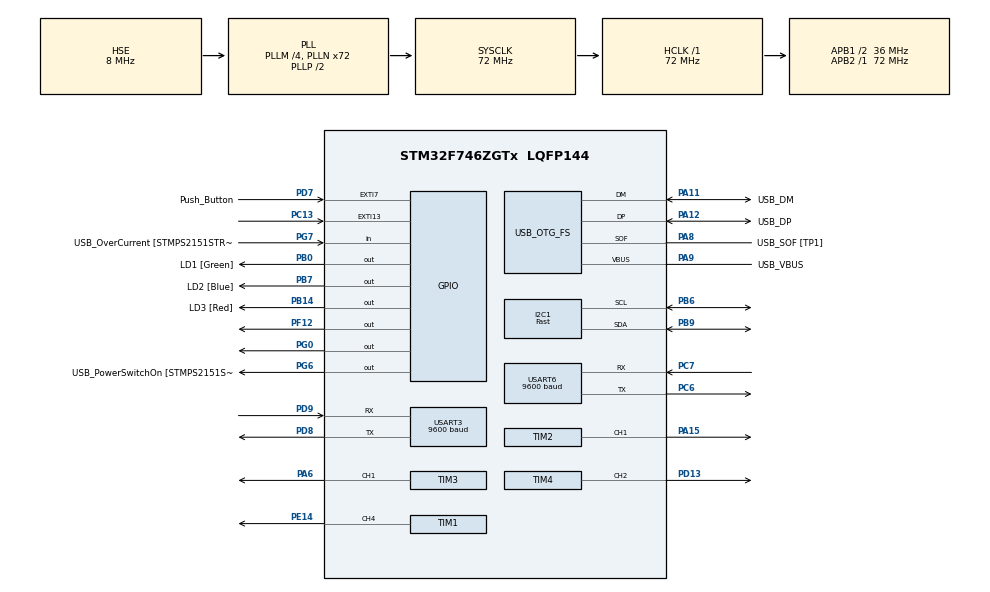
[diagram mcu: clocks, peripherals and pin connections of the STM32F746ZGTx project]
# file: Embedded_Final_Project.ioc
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Dma.Request0=USART3_RX
Dma.USART3_RX.0.Direction=DMA_PERIPH_TO_MEMORY
Dma.USART3_RX.0.FIFOMode=DMA_FIFOMODE_DISABLE
Dma.USART3_RX.0.Instance=DMA1_Stream1
Dma.USART3_RX.0.MemDataAlignment=DMA_MDATAALIGN_BYTE
Dma.USART3_RX.0.MemInc=DMA_MINC_ENABLE
Dma.USART3_RX.0.Mode=DMA_CIRCULAR
Dma.USART3_RX.0.PeriphDataAlignment=DMA_PDATAALIGN_BYTE
Dma.USART3_RX.0.PeriphInc=DMA_PINC_DISABLE
Dma.USART3_RX.0.Priority=DMA_PRIORITY_VERY_HIGH
I2C1.I2C_Speed_Mode=I2C_Fast
I2C1.Speed=100
I2C1.Timing=0x00305FFF
Mcu.Family=STM32F7
Mcu.Name=STM32F746ZGTx
Mcu.Package=LQFP144
NVIC.DMA1_Stream1_IRQn=true\:0\:0\:false\:false\:true\:false\:true\:true
NVIC.EXTI15_10_IRQn=true\:0\:0\:false\:false\:true\:true\:true\:true
NVIC.EXTI9_5_IRQn=true\:0\:0\:false\:false\:true\:true\:true\:true
NVIC.I2C1_ER_IRQn=true\:0\:0\:false\:false\:true\:true\:true\:true
NVIC.I2C1_EV_IRQn=true\:0\:0\:false\:false\:true\:true\:true\:true
NVIC.PriorityGroup=NVIC_PRIORITYGROUP_4
NVIC.TIM1_UP_TIM10_IRQn=true\:0\:0\:false\:false\:true\:true\:true\:true
PA1.GPIO_Label=RMII_REF_CLK [LAN8742A-CZ-TR_REFCLK0]
PA1.Signal=ETH_REF_CLK
PA10.GPIO_Label=USB_ID
PA10.Signal=USB_OTG_FS_ID
PA11.GPIO_Label=USB_DM
PA11.Mode=Device_Only
PA11.Signal=USB_OTG_FS_DM
PA12.GPIO_Label=USB_DP
PA12.Mode=Device_Only
PA12.Signal=USB_OTG_FS_DP
PA13.GPIO_Label=TMS
PA13.Mode=Serial_Wire
PA13.Signal=SYS_JTMS-SWDIO
PA14.GPIO_Label=TCK
PA14.Mode=Serial_Wire
PA14.Signal=SYS_JTCK-SWCLK
PA15.Signal=S_TIM2_CH1_ETR
PA2.GPIO_Label=RMII_MDIO [LAN8742A-CZ-TR_MDIO]
PA2.Signal=ETH_MDIO
PA6.Signal=S_TIM3_CH1
PA7.GPIO_Label=RMII_CRS_DV [LAN8742A-CZ-TR_CRS_DV]
PA7.Signal=ETH_CRS_DV
PA8.GPIO_Label=USB_SOF [TP1]
PA8.Mode=Activate_SOF_FS
PA8.Signal=USB_OTG_FS_SOF
PA9.GPIO_Label=USB_VBUS
PA9.Mode=Activate_VBUS
PA9.Signal=USB_OTG_FS_VBUS
PB0.GPIO_Label=LD1 [Green]
PB0.Signal=GPIO_Output
PB13.GPIO_Label=RMII_TXD1 [LAN8742A-CZ-TR_TXD1]
PB13.Signal=ETH_TXD1
PB14.GPIO_Label=LD3 [Red]
PB14.Signal=GPIO_Output
PB3.GPIO_Label=SW0
PB3.Signal=SYS_JTDO-SWO
PB6.Mode=I2C
PB6.Signal=I2C1_SCL
PB7.GPIO_Label=LD2 [Blue]
PB7.Signal=GPIO_Output
PB9.Mode=I2C
PB9.Signal=I2C1_SDA
PC1.GPIO_Label=RMII_MDC [LAN8742A-CZ-TR_MDC]
PC1.Signal=ETH_MDC
PC13.Signal=GPXTI13
PC14/OSC32_IN.Signal=RCC_OSC32_IN
PC15/OSC32_OUT.Signal=RCC_OSC32_OUT
PC4.GPIO_Label=RMII_RXD0 [LAN8742A-CZ-TR_RXD0]
PC4.Signal=ETH_RXD0
PC5.GPIO_Label=RMII_RXD1 [LAN8742A-CZ-TR_RXD1]
PC5.Signal=ETH_RXD1
PC6.Mode=Asynchronous
PC6.Signal=USART6_TX
PC7.Mode=Asynchronous
PC7.Signal=USART6_RX
PD13.Signal=S_TIM4_CH2
PD7.GPIO_Label=Push_Button
PD7.GPIO_ModeDefaultEXTI=GPIO_MODE_IT_FALLING
PD7.GPIO_PuPd=GPIO_PULLDOWN
PD7.Signal=GPXTI7
PD8.GPIO_ModeDefaultPP=GPIO_MODE_AF_PP
PD8.GPIO_PuPd=GPIO_NOPULL
PD8.GPIO_Speed=GPIO_SPEED_FREQ_VERY_HIGH
PD8.Mode=Asynchronous
PD8.Signal=USART3_TX
PD9.GPIO_ModeDefaultPP=GPIO_MODE_AF_PP
PD9.GPIO_PuPd=GPIO_NOPULL
PD9.GPIO_Speed=GPIO_SPEED_FREQ_VERY_HIGH
PD9.Mode=Asynchronous
PD9.Signal=USART3_RX
PE14.Signal=S_TIM1_CH4
PF12.PinState=GPIO_PIN_SET
PF12.Signal=GPIO_Output
PG0.Signal=GPIO_Output
PG11.GPIO_Label=RMII_TX_EN [LAN8742A-CZ-TR_TXEN]
PG11.Signal=ETH_TX_EN
PG13.GPIO_Label=RMII_TXD0 [LAN8742A-CZ-TR_TXD0]
PG13.Signal=ETH_TXD0
PG6.GPIO_Label=USB_PowerSwitchOn [STMPS2151STR_EN]
PG6.Signal=GPIO_Output
PG7.GPIO_Label=USB_OverCurrent [STMPS2151STR_FAULT]
PG7.Signal=GPIO_Input
PH0/OSC_IN.GPIO_Label=MCO [STM32F103CBT6_PA8]
PH0/OSC_IN.Mode=HSE-External-Oscillator
PH0/OSC_IN.Signal=RCC_OSC_IN
PH1/OSC_OUT.Mode=HSE-External-Oscillator
PH1/OSC_OUT.Signal=RCC_OSC_OUT
ProjectManager.HeapSize=0x200
ProjectManager.StackSize=0x400
ProjectManager.TargetToolchain=STM32CubeIDE
RCC.48MHZClocksFreq_Value=24000000
RCC.AHBFreq_Value=72000000
RCC.APB1CLKDivider=RCC_HCLK_DIV2
RCC.APB1Freq_Value=36000000
RCC.APB1TimFreq_Value=72000000
RCC.APB2Freq_Value=72000000
RCC.APB2TimFreq_Value=72000000
RCC.CortexFreq_Value=72000000
RCC.HCLKFreq_Value=72000000
RCC.HSE_VALUE=8000000
RCC.HSI_VALUE=16000000
RCC.LSE_VALUE=32768
RCC.PLLM=4
RCC.PLLMUL=RCC_PLL_MUL9
RCC.PLLN=72
RCC.PLLQ=3
RCC.PRESCALERUSB=RCC_USBCLKSOURCE_PLL_DIV1_5
RCC.SYSCLKFreq_VALUE=72000000
RCC.SYSCLKSource=RCC_SYSCLKSOURCE_PLLCLK
RCC.SYSCLKSourceVirtual=RCC_SYSCLKSOURCE_PLLCLK
RCC.USBFreq_Value=48000000
RCC.VCOOutputFreq_Value=144000000
SH.S_TIM1_CH4.0=TIM1_CH4,PWM Generation4 CH4
SH.S_TIM2_CH1_ETR.0=TIM2_CH1,PWM Generation1 CH1
SH.S_TIM3_CH1.0=TIM3_CH1,PWM Generation1 CH1
SH.S_TIM4_CH2.0=TIM4_CH2,PWM Generation2 CH2
TIM1.AutoReloadPreload=TIM_AUTORELOAD_PRELOAD_ENABLE
TIM1.Channel-PWM\ Generation4\ CH4=TIM_CHANNEL_4
TIM1.Period=65535-1
TIM10.AutoReloadPreload=TIM_AUTORELOAD_PRELOAD_DISABLE
TIM10.Period=100-1
TIM10.Prescaler=60000
TIM2.AutoReloadPreload=TIM_AUTORELOAD_PRELOAD_ENABLE
TIM2.Channel-PWM\ Generation1\ CH1=TIM_CHANNEL_1
TIM2.Period=255
TIM2.Pulse-PWM\ Generation1\ CH1=0
TIM3.AutoReloadPreload=TIM_AUTORELOAD_PRELOAD_ENABLE
TIM3.Channel-PWM\ Generation1\ CH1=TIM_CHANNEL_1
TIM3.Period=65535-1
TIM3.Pulse-PWM\ Generation1\ CH1=32767
TIM4.AutoReloadPreload=TIM_AUTORELOAD_PRELOAD_ENABLE
TIM4.Channel-PWM\ Generation2\ CH2=TIM_CHANNEL_2
TIM4.Period=65535-1
USART3.BaudRate=9600
USART3.Mode=MODE_TX_RX
USART3.OverrunDisableParam=ADVFEATURE_OVERRUN_ENABLE
USART3.Parity=PARITY_EVEN
USART3.VirtualMode-Asynchronous=VM_ASYNC
USART6.BaudRate=9600
USART6.VirtualMode-Asynchronous=VM_ASYNC
USB_OTG_FS.VirtualMode=Device_Only
VP_TIM10_VS_ClockSourceINT.Mode=Enable_Timer
VP_TIM1_VS_ClockSourceINT.Mode=Internal
VP_TIM3_VS_ClockSourceINT.Mode=Internal
VP_TIM4_VS_ClockSourceINT.Mode=Internal
board=NUCLEO-F746ZG

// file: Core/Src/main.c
/* USER CODE BEGIN Header */
/**
  ******************************************************************************
  * @file           : main.c
  * @brief          : Main program body
  ******************************************************************************
  * @attention
  *
  * Copyright (c) 2023 STMicroelectronics.
  * All rights reserved.
  *
  * This software is licensed under terms that can be found in the LICENSE file
  * in the root directory of this software component.
  * If no LICENSE file comes with this software, it is provided AS-IS.
  *
  ******************************************************************************
  */
/* USER CODE END Header */
#include "main.h"

/* USER CODE BEGIN Includes */
#include "string.h"
#include "stdlib.h"
#include "stdbool.h"
#include "stdio.h"
#include "memory.h"
#include "stdint.h"
/* USER CODE END Includes */

/* USER CODE BEGIN PD */
#define FLASH_PROGRAM_BYTE	((uint32_t)0x00)
#define FLASH_PROGRAM_HWORD	((uint32_t)0x01)
#define FLASH_PROGRAM_WORD	((uint32_t)0x02)

#include "global_fish_defines.h"
#include "fish_write_read_memory.h"
#include "motor_helper_methods.h"
#include "song_helper_flow_control.h"

uint16_t timer10Value;
/* USER CODE END PD */

I2C_HandleTypeDef hi2c1;

TIM_HandleTypeDef htim1;
TIM_HandleTypeDef htim2;
TIM_HandleTypeDef htim3;
TIM_HandleTypeDef htim4;
TIM_HandleTypeDef htim10;

UART_HandleTypeDef huart3;
UART_HandleTypeDef huart6;
DMA_HandleTypeDef hdma_usart3_rx;

PCD_HandleTypeDef hpcd_USB_OTG_FS;

/* USER CODE BEGIN PV */

// Play Song
uint8_t current_song = 0;
uint8_t* current_song_data;
uint8_t initial_start_playing = 0;
uint8_t play_flag = 0;
uint16_t i_play = 0;

uint8_t* currently_loaded_songs[MAX_FISH_SONGS];
uint8_t current_fish_state = FISH_PAUSED_STATE; // 0 = pause, 1 = play

/* USER CODE END PV */

void SystemClock_Config(void);
static void MX_GPIO_Init(void);
static void MX_DMA_Init(void);
static void MX_USART3_UART_Init(void);
static void MX_USB_OTG_FS_PCD_Init(void);
static void MX_TIM3_Init(void);
static void MX_TIM10_Init(void);
static void MX_TIM1_Init(void);
static void MX_TIM4_Init(void);
static void MX_I2C1_Init(void);
static void MX_TIM2_Init(void);
static void MX_USART6_UART_Init(void);
/* USER CODE BEGIN PFP */

//int playSong();
//int stopSong();

/* USER CODE END PFP */

/* USER CODE BEGIN 0 */

//Global fish state pound

/* USER CODE END 0 */

int main(void)
{

  /* MCU Configuration--------------------------------------------------------*/

  /* Reset of all peripherals, Initializes the Flash interface and the Systick. */
  HAL_Init();

  /* Configure the system clock */
  SystemClock_Config();

  /* Initialize all configured peripherals */
  MX_GPIO_Init();
  MX_DMA_Init();
  MX_USART3_UART_Init();
  MX_USB_OTG_FS_PCD_Init();
  MX_TIM3_Init();
  MX_TIM10_Init();
  MX_TIM1_Init();
  MX_TIM4_Init();
  MX_I2C1_Init();
  MX_TIM2_Init();
  MX_USART6_UART_Init();
  /* USER CODE BEGIN 2 */

//  HAL_GPIO_WritePin(GPIOF, GPIO_PIN_12, GPIO_PIN_SET);
//  HAL_Delay(100);
//  HAL_GPIO_WritePin(GPIOF, GPIO_PIN_12, GPIO_PIN_RESET);
//  HAL_Delay(300);
//  HAL_GPIO_WritePin(GPIOF, GPIO_PIN_12, GPIO_PIN_SET);
//  HAL_Delay(100);

  HAL_TIM_PWM_Start(&htim3, TIM_CHANNEL_1);
  HAL_TIM_PWM_Start(&htim1, TIM_CHANNEL_4);
  HAL_TIM_PWM_Start(&htim4, TIM_CHANNEL_2);

  //HAL_TIM_Base_Start_IT(&htim10);

  //playSong();
  loadSongsIntoMemory();
  //stopSong();
  HAL_Delay(1000);

	uint8_t dataTemp[] = "q";
	HAL_UART_Transmit (&huart6, dataTemp, sizeof (dataTemp), 10);
  // example write

  /* USER CODE END 2 */

  /* Infinite loop */
  while (1)
  {

    /* USER CODE BEGIN 3 */

	  	if(current_fish_state==FISH_PLAYING_STATE){
		if(initial_start_playing == 1){
		    uint8_t dataTemp[] = "#x\n";
		    // Convert the uint8_t variable to a string
		    char variableString[2]; // Assuming a single-digit number
		    snprintf(variableString, sizeof(variableString), "%u", (current_song));
		    // Replace the "2" with the variable in the array
		    dataTemp[1] = variableString[0];

			// 0 = Love Sosa - Chief Keef
			// 1 = September - Earth, Wind, and Fire
			// 2 = Swervo - G Herbo
		    HAL_Delay(500);
			HAL_UART_Transmit (&huart6, dataTemp, sizeof (dataTemp), 150);
			//HAL_Delay(1000);
			//delay?

			initial_start_playing = 0;
			i_play = 0;
		}
		uint8_t current_song_byte;
		if(i_play < 3600){
			current_song_byte = current_song_data[i_play];
			set_fish_motor_states(current_song_byte);
			i_play++;
			HAL_Delay(83.33333);
		}
		else{
			stopSong();
		}
	  	}
	  //set_fish_motor_states(0x01);
	  //HAL_Delay(1000);
	  //reset_fish_motors();
	  //HAL_Delay(1000);

	  //if(new_data!=0){
		  /*
		  uint8_t out_num = Rx_data[0];
		  if(out_num&0x02){
			  set_motor_pwm(MOTORA, 100);
		  }else{
			  set_motor_pwm(MOTORA, 0);
		  }
//		   */
//
//		  //In this loop we will write to EEPROM and handle data writing etc...
//		  handle_incoming_song(Rx_data);
//		  HAL_GPIO_TogglePin(GPIOB, GPIO_PIN_14);
//		  HAL_Delay(3000);
//		  HAL_GPIO_TogglePin(GPIOB, GPIO_PIN_14);
//		  new_data=0;
	  //}

  }
  /* USER CODE END 3 */
}

void SystemClock_Config(void)
{
  RCC_OscInitTypeDef RCC_OscInitStruct = {0};
  RCC_ClkInitTypeDef RCC_ClkInitStruct = {0};

  /** Configure the main internal regulator output voltage
  */
  __HAL_RCC_PWR_CLK_ENABLE();
  __HAL_PWR_VOLTAGESCALING_CONFIG(PWR_REGULATOR_VOLTAGE_SCALE3);

  /** Initializes the RCC Oscillators according to the specified parameters
  * in the RCC_OscInitTypeDef structure.
  */
  RCC_OscInitStruct.OscillatorType = RCC_OSCILLATORTYPE_HSE;
  RCC_OscInitStruct.HSEState = RCC_HSE_ON;
  RCC_OscInitStruct.PLL.PLLState = RCC_PLL_ON;
  RCC_OscInitStruct.PLL.PLLSource = RCC_PLLSOURCE_HSE;
  RCC_OscInitStruct.PLL.PLLM = 4;
  RCC_OscInitStruct.PLL.PLLN = 72;
  RCC_OscInitStruct.PLL.PLLP = RCC_PLLP_DIV2;
  RCC_OscInitStruct.PLL.PLLQ = 3;
  if (HAL_RCC_OscConfig(&RCC_OscInitStruct) != HAL_OK)
  {
    Error_Handler();
  }

  /** Initializes the CPU, AHB and APB buses clocks
  */
  RCC_ClkInitStruct.ClockType = RCC_CLOCKTYPE_HCLK|RCC_CLOCKTYPE_SYSCLK
                              |RCC_CLOCKTYPE_PCLK1|RCC_CLOCKTYPE_PCLK2;
  RCC_ClkInitStruct.SYSCLKSource = RCC_SYSCLKSOURCE_PLLCLK;
  RCC_ClkInitStruct.AHBCLKDivider = RCC_SYSCLK_DIV1;
  RCC_ClkInitStruct.APB1CLKDivider = RCC_HCLK_DIV2;
  RCC_ClkInitStruct.APB2CLKDivider = RCC_HCLK_DIV1;

  if (HAL_RCC_ClockConfig(&RCC_ClkInitStruct, FLASH_LATENCY_2) != HAL_OK)
  {
    Error_Handler();
  }
}

static void MX_I2C1_Init(void)
{

  hi2c1.Instance = I2C1;
  hi2c1.Init.Timing = 0x00305FFF;
  hi2c1.Init.OwnAddress1 = 0;
  hi2c1.Init.AddressingMode = I2C_ADDRESSINGMODE_7BIT;
  hi2c1.Init.DualAddressMode = I2C_DUALADDRESS_DISABLE;
  hi2c1.Init.OwnAddress2 = 0;
  hi2c1.Init.OwnAddress2Masks = I2C_OA2_NOMASK;
  hi2c1.Init.GeneralCallMode = I2C_GENERALCALL_DISABLE;
  hi2c1.Init.NoStretchMode = I2C_NOSTRETCH_DISABLE;
  if (HAL_I2C_Init(&hi2c1) != HAL_OK)
  {
    Error_Handler();
  }

  /** Configure Analogue filter
  */
  if (HAL_I2CEx_ConfigAnalogFilter(&hi2c1, I2C_ANALOGFILTER_ENABLE) != HAL_OK)
  {
    Error_Handler();
  }

  /** Configure Digital filter
  */
  if (HAL_I2CEx_ConfigDigitalFilter(&hi2c1, 0) != HAL_OK)
  {
    Error_Handler();
  }

}

static void MX_TIM1_Init(void)
{

  TIM_ClockConfigTypeDef sClockSourceConfig = {0};
  TIM_MasterConfigTypeDef sMasterConfig = {0};
  TIM_OC_InitTypeDef sConfigOC = {0};
  TIM_BreakDeadTimeConfigTypeDef sBreakDeadTimeConfig = {0};

  htim1.Instance = TIM1;
  htim1.Init.Prescaler = 0;
  htim1.Init.CounterMode = TIM_COUNTERMODE_UP;
  htim1.Init.Period = 65535-1;
  htim1.Init.ClockDivision = TIM_CLOCKDIVISION_DIV1;
  htim1.Init.RepetitionCounter = 0;
  htim1.Init.AutoReloadPreload = TIM_AUTORELOAD_PRELOAD_ENABLE;
  if (HAL_TIM_Base_Init(&htim1) != HAL_OK)
  {
    Error_Handler();
  }
  sClockSourceConfig.ClockSource = TIM_CLOCKSOURCE_INTERNAL;
  if (HAL_TIM_ConfigClockSource(&htim1, &sClockSourceConfig) != HAL_OK)
  {
    Error_Handler();
  }
  if (HAL_TIM_PWM_Init(&htim1) != HAL_OK)
  {
    Error_Handler();
  }
  sMasterConfig.MasterOutputTrigger = TIM_TRGO_RESET;
  sMasterConfig.MasterOutputTrigger2 = TIM_TRGO2_RESET;
  sMasterConfig.MasterSlaveMode = TIM_MASTERSLAVEMODE_DISABLE;
  if (HAL_TIMEx_MasterConfigSynchronization(&htim1, &sMasterConfig) != HAL_OK)
  {
    Error_Handler();
  }
  sConfigOC.OCMode = TIM_OCMODE_PWM1;
  sConfigOC.Pulse = 0;
  sConfigOC.OCPolarity = TIM_OCPOLARITY_HIGH;
  sConfigOC.OCFastMode = TIM_OCFAST_DISABLE;
  sConfigOC.OCIdleState = TIM_OCIDLESTATE_RESET;
  sConfigOC.OCNIdleState = TIM_OCNIDLESTATE_RESET;
  if (HAL_TIM_PWM_ConfigChannel(&htim1, &sConfigOC, TIM_CHANNEL_4) != HAL_OK)
  {
    Error_Handler();
  }
  sBreakDeadTimeConfig.OffStateRunMode = TIM_OSSR_DISABLE;
  sBreakDeadTimeConfig.OffStateIDLEMode = TIM_OSSI_DISABLE;
  sBreakDeadTimeConfig.LockLevel = TIM_LOCKLEVEL_OFF;
  sBreakDeadTimeConfig.DeadTime = 0;
  sBreakDeadTimeConfig.BreakState = TIM_BREAK_DISABLE;
  sBreakDeadTimeConfig.BreakPolarity = TIM_BREAKPOLARITY_HIGH;
  sBreakDeadTimeConfig.BreakFilter = 0;
  sBreakDeadTimeConfig.Break2State = TIM_BREAK2_DISABLE;
  sBreakDeadTimeConfig.Break2Polarity = TIM_BREAK2POLARITY_HIGH;
  sBreakDeadTimeConfig.Break2Filter = 0;
  sBreakDeadTimeConfig.AutomaticOutput = TIM_AUTOMATICOUTPUT_DISABLE;
  if (HAL_TIMEx_ConfigBreakDeadTime(&htim1, &sBreakDeadTimeConfig) != HAL_OK)
  {
    Error_Handler();
  }
  HAL_TIM_MspPostInit(&htim1);

}

static void MX_TIM2_Init(void)
{

  TIM_MasterConfigTypeDef sMasterConfig = {0};
  TIM_OC_InitTypeDef sConfigOC = {0};

  htim2.Instance = TIM2;
  htim2.Init.Prescaler = 0;
  htim2.Init.CounterMode = TIM_COUNTERMODE_UP;
  htim2.Init.Period = 255;
  htim2.Init.ClockDivision = TIM_CLOCKDIVISION_DIV1;
  htim2.Init.AutoReloadPreload = TIM_AUTORELOAD_PRELOAD_ENABLE;
  if (HAL_TIM_PWM_Init(&htim2) != HAL_OK)
  {
    Error_Handler();
  }
  sMasterConfig.MasterOutputTrigger = TIM_TRGO_RESET;
  sMasterConfig.MasterSlaveMode = TIM_MASTERSLAVEMODE_DISABLE;
  if (HAL_TIMEx_MasterConfigSynchronization(&htim2, &sMasterConfig) != HAL_OK)
  {
    Error_Handler();
  }
  sConfigOC.OCMode = TIM_OCMODE_PWM1;
  sConfigOC.Pulse = 0;
  sConfigOC.OCPolarity = TIM_OCPOLARITY_HIGH;
  sConfigOC.OCFastMode = TIM_OCFAST_DISABLE;
  if (HAL_TIM_PWM_ConfigChannel(&htim2, &sConfigOC, TIM_CHANNEL_1) != HAL_OK)
  {
    Error_Handler();
  }
  HAL_TIM_MspPostInit(&htim2);

}

static void MX_TIM3_Init(void)
{

  TIM_ClockConfigTypeDef sClockSourceConfig = {0};
  TIM_MasterConfigTypeDef sMasterConfig = {0};
  TIM_OC_InitTypeDef sConfigOC = {0};

  htim3.Instance = TIM3;
  htim3.Init.Prescaler = 0;
  htim3.Init.CounterMode = TIM_COUNTERMODE_UP;
  htim3.Init.Period = 65535-1;
  htim3.Init.ClockDivision = TIM_CLOCKDIVISION_DIV1;
  htim3.Init.AutoReloadPreload = TIM_AUTORELOAD_PRELOAD_ENABLE;
  if (HAL_TIM_Base_Init(&htim3) != HAL_OK)
  {
    Error_Handler();
  }
  sClockSourceConfig.ClockSource = TIM_CLOCKSOURCE_INTERNAL;
  if (HAL_TIM_ConfigClockSource(&htim3, &sClockSourceConfig) != HAL_OK)
  {
    Error_Handler();
  }
  if (HAL_TIM_PWM_Init(&htim3) != HAL_OK)
  {
    Error_Handler();
  }
  sMasterConfig.MasterOutputTrigger = TIM_TRGO_RESET;
  sMasterConfig.MasterSlaveMode = TIM_MASTERSLAVEMODE_DISABLE;
  if (HAL_TIMEx_MasterConfigSynchronization(&htim3, &sMasterConfig) != HAL_OK)
  {
    Error_Handler();
  }
  sConfigOC.OCMode = TIM_OCMODE_PWM1;
  sConfigOC.Pulse = 32767;
  sConfigOC.OCPolarity = TIM_OCPOLARITY_HIGH;
  sConfigOC.OCFastMode = TIM_OCFAST_DISABLE;
  if (HAL_TIM_PWM_ConfigChannel(&htim3, &sConfigOC, TIM_CHANNEL_1) != HAL_OK)
  {
    Error_Handler();
  }
  HAL_TIM_MspPostInit(&htim3);

}

static void MX_TIM4_Init(void)
{

  TIM_ClockConfigTypeDef sClockSourceConfig = {0};
  TIM_MasterConfigTypeDef sMasterConfig = {0};
  TIM_OC_InitTypeDef sConfigOC = {0};

  htim4.Instance = TIM4;
  htim4.Init.Prescaler = 0;
  htim4.Init.CounterMode = TIM_COUNTERMODE_UP;
  htim4.Init.Period = 65535-1;
  htim4.Init.ClockDivision = TIM_CLOCKDIVISION_DIV1;
  htim4.Init.AutoReloadPreload = TIM_AUTORELOAD_PRELOAD_ENABLE;
  if (HAL_TIM_Base_Init(&htim4) != HAL_OK)
  {
    Error_Handler();
  }
  sClockSourceConfig.ClockSource = TIM_CLOCKSOURCE_INTERNAL;
  if (HAL_TIM_ConfigClockSource(&htim4, &sClockSourceConfig) != HAL_OK)
  {
    Error_Handler();
  }
  if (HAL_TIM_PWM_Init(&htim4) != HAL_OK)
  {
    Error_Handler();
  }
  sMasterConfig.MasterOutputTrigger = TIM_TRGO_RESET;
  sMasterConfig.MasterSlaveMode = TIM_MASTERSLAVEMODE_DISABLE;
  if (HAL_TIMEx_MasterConfigSynchronization(&htim4, &sMasterConfig) != HAL_OK)
  {
    Error_Handler();
  }
  sConfigOC.OCMode = TIM_OCMODE_PWM1;
  sConfigOC.Pulse = 0;
  sConfigOC.OCPolarity = TIM_OCPOLARITY_HIGH;
  sConfigOC.OCFastMode = TIM_OCFAST_DISABLE;
  if (HAL_TIM_PWM_ConfigChannel(&htim4, &sConfigOC, TIM_CHANNEL_2) != HAL_OK)
  {
    Error_Handler();
  }
  HAL_TIM_MspPostInit(&htim4);

}

static void MX_TIM10_Init(void)
{

  htim10.Instance = TIM10;
  htim10.Init.Prescaler = 60000;
  htim10.Init.CounterMode = TIM_COUNTERMODE_UP;
  htim10.Init.Period = 100-1;
  htim10.Init.ClockDivision = TIM_CLOCKDIVISION_DIV1;
  htim10.Init.AutoReloadPreload = TIM_AUTORELOAD_PRELOAD_DISABLE;
  if (HAL_TIM_Base_Init(&htim10) != HAL_OK)
  {
    Error_Handler();
  }

}

static void MX_USART3_UART_Init(void)
{

  huart3.Instance = USART3;
  huart3.Init.BaudRate = 9600;
  huart3.Init.WordLength = UART_WORDLENGTH_8B;
  huart3.Init.StopBits = UART_STOPBITS_1;
  huart3.Init.Parity = UART_PARITY_EVEN;
  huart3.Init.Mode = UART_MODE_TX_RX;
  huart3.Init.HwFlowCtl = UART_HWCONTROL_NONE;
  huart3.Init.OverSampling = UART_OVERSAMPLING_16;
  huart3.Init.OneBitSampling = UART_ONE_BIT_SAMPLE_DISABLE;
  huart3.AdvancedInit.AdvFeatureInit = UART_ADVFEATURE_NO_INIT;
  if (HAL_UART_Init(&huart3) != HAL_OK)
  {
    Error_Handler();
  }

}

static void MX_USART6_UART_Init(void)
{

  huart6.Instance = USART6;
  huart6.Init.BaudRate = 9600;
  huart6.Init.WordLength = UART_WORDLENGTH_8B;
  huart6.Init.StopBits = UART_STOPBITS_1;
  huart6.Init.Parity = UART_PARITY_NONE;
  huart6.Init.Mode = UART_MODE_TX_RX;
  huart6.Init.HwFlowCtl = UART_HWCONTROL_NONE;
  huart6.Init.OverSampling = UART_OVERSAMPLING_16;
  huart6.Init.OneBitSampling = UART_ONE_BIT_SAMPLE_DISABLE;
  huart6.AdvancedInit.AdvFeatureInit = UART_ADVFEATURE_NO_INIT;
  if (HAL_UART_Init(&huart6) != HAL_OK)
  {
    Error_Handler();
  }

}

static void MX_USB_OTG_FS_PCD_Init(void)
{

  hpcd_USB_OTG_FS.Instance = USB_OTG_FS;
  hpcd_USB_OTG_FS.Init.dev_endpoints = 6;
  hpcd_USB_OTG_FS.Init.speed = PCD_SPEED_FULL;
  hpcd_USB_OTG_FS.Init.dma_enable = DISABLE;
  hpcd_USB_OTG_FS.Init.phy_itface = PCD_PHY_EMBEDDED;
  hpcd_USB_OTG_FS.Init.Sof_enable = ENABLE;
  hpcd_USB_OTG_FS.Init.low_power_enable = DISABLE;
  hpcd_USB_OTG_FS.Init.lpm_enable = DISABLE;
  hpcd_USB_OTG_FS.Init.vbus_sensing_enable = ENABLE;
  hpcd_USB_OTG_FS.Init.use_dedicated_ep1 = DISABLE;
  if (HAL_PCD_Init(&hpcd_USB_OTG_FS) != HAL_OK)
  {
    Error_Handler();
  }

}

static void MX_DMA_Init(void)
{

  /* DMA controller clock enable */
  __HAL_RCC_DMA1_CLK_ENABLE();

  /* DMA interrupt init */
  /* DMA1_Stream1_IRQn interrupt configuration */
  HAL_NVIC_SetPriority(DMA1_Stream1_IRQn, 0, 0);
  HAL_NVIC_EnableIRQ(DMA1_Stream1_IRQn);

}

static void MX_GPIO_Init(void)
{
  GPIO_InitTypeDef GPIO_InitStruct = {0};

  /* GPIO Ports Clock Enable */
  __HAL_RCC_GPIOC_CLK_ENABLE();
  __HAL_RCC_GPIOH_CLK_ENABLE();
  __HAL_RCC_GPIOA_CLK_ENABLE();
  __HAL_RCC_GPIOB_CLK_ENABLE();
  __HAL_RCC_GPIOF_CLK_ENABLE();
  __HAL_RCC_GPIOG_CLK_ENABLE();
  __HAL_RCC_GPIOE_CLK_ENABLE();
  __HAL_RCC_GPIOD_CLK_ENABLE();

  /*Configure GPIO pin Output Level */
  HAL_GPIO_WritePin(GPIOB, LD1_Pin|LD3_Pin|LD2_Pin, GPIO_PIN_RESET);

  /*Configure GPIO pin Output Level */
  HAL_GPIO_WritePin(GPIOF, GPIO_PIN_12, GPIO_PIN_SET);

  /*Configure GPIO pin Output Level */
  HAL_GPIO_WritePin(GPIOG, GPIO_PIN_0|USB_PowerSwitchOn_Pin, GPIO_PIN_RESET);

  /*Configure GPIO pin : PC13 */
  GPIO_InitStruct.Pin = GPIO_PIN_13;
  GPIO_InitStruct.Mode = GPIO_MODE_IT_RISING;
  GPIO_InitStruct.Pull = GPIO_NOPULL;
  HAL_GPIO_Init(GPIOC, &GPIO_InitStruct);

  /*Configure GPIO pins : RMII_MDC_Pin RMII_RXD0_Pin RMII_RXD1_Pin */
  GPIO_InitStruct.Pin = RMII_MDC_Pin|RMII_RXD0_Pin|RMII_RXD1_Pin;
  GPIO_InitStruct.Mode = GPIO_MODE_AF_PP;
  GPIO_InitStruct.Pull = GPIO_NOPULL;
  GPIO_InitStruct.Speed = GPIO_SPEED_FREQ_VERY_HIGH;
  GPIO_InitStruct.Alternate = GPIO_AF11_ETH;
  HAL_GPIO_Init(GPIOC, &GPIO_InitStruct);

  /*Configure GPIO pins : RMII_REF_CLK_Pin RMII_MDIO_Pin RMII_CRS_DV_Pin */
  GPIO_InitStruct.Pin = RMII_REF_CLK_Pin|RMII_MDIO_Pin|RMII_CRS_DV_Pin;
  GPIO_InitStruct.Mode = GPIO_MODE_AF_PP;
  GPIO_InitStruct.Pull = GPIO_NOPULL;
  GPIO_InitStruct.Speed = GPIO_SPEED_FREQ_VERY_HIGH;
  GPIO_InitStruct.Alternate = GPIO_AF11_ETH;
  HAL_GPIO_Init(GPIOA, &GPIO_InitStruct);

  /*Configure GPIO pins : LD1_Pin LD3_Pin LD2_Pin */
  GPIO_InitStruct.Pin = LD1_Pin|LD3_Pin|LD2_Pin;
  GPIO_InitStruct.Mode = GPIO_MODE_OUTPUT_PP;
  GPIO_InitStruct.Pull = GPIO_NOPULL;
  GPIO_InitStruct.Speed = GPIO_SPEED_FREQ_LOW;
  HAL_GPIO_Init(GPIOB, &GPIO_InitStruct);

  /*Configure GPIO pin : PF12 */
  GPIO_InitStruct.Pin = GPIO_PIN_12;
  GPIO_InitStruct.Mode = GPIO_MODE_OUTPUT_PP;
  GPIO_InitStruct.Pull = GPIO_NOPULL;
  GPIO_InitStruct.Speed = GPIO_SPEED_FREQ_LOW;
  HAL_GPIO_Init(GPIOF, &GPIO_InitStruct);

  /*Configure GPIO pins : PG0 USB_PowerSwitchOn_Pin */
  GPIO_InitStruct.Pin = GPIO_PIN_0|USB_PowerSwitchOn_Pin;
  GPIO_InitStruct.Mode = GPIO_MODE_OUTPUT_PP;
  GPIO_InitStruct.Pull = GPIO_NOPULL;
  GPIO_InitStruct.Speed = GPIO_SPEED_FREQ_LOW;
  HAL_GPIO_Init(GPIOG, &GPIO_InitStruct);

  /*Configure GPIO pin : RMII_TXD1_Pin */
  GPIO_InitStruct.Pin = RMII_TXD1_Pin;
  GPIO_InitStruct.Mode = GPIO_MODE_AF_PP;
  GPIO_InitStruct.Pull = GPIO_NOPULL;
  GPIO_InitStruct.Speed = GPIO_SPEED_FREQ_VERY_HIGH;
  GPIO_InitStruct.Alternate = GPIO_AF11_ETH;
  HAL_GPIO_Init(RMII_TXD1_GPIO_Port, &GPIO_InitStruct);

  /*Configure GPIO pin : USB_OverCurrent_Pin */
  GPIO_InitStruct.Pin = USB_OverCurrent_Pin;
  GPIO_InitStruct.Mode = GPIO_MODE_INPUT;
  GPIO_InitStruct.Pull = GPIO_NOPULL;
  HAL_GPIO_Init(USB_OverCurrent_GPIO_Port, &GPIO_InitStruct);

  /*Configure GPIO pin : Push_Button_Pin */
  GPIO_InitStruct.Pin = Push_Button_Pin;
  GPIO_InitStruct.Mode = GPIO_MODE_IT_FALLING;
  GPIO_InitStruct.Pull = GPIO_PULLDOWN;
  HAL_GPIO_Init(Push_Button_GPIO_Port, &GPIO_InitStruct);

  /*Configure GPIO pins : RMII_TX_EN_Pin RMII_TXD0_Pin */
  GPIO_InitStruct.Pin = RMII_TX_EN_Pin|RMII_TXD0_Pin;
  GPIO_InitStruct.Mode = GPIO_MODE_AF_PP;
  GPIO_InitStruct.Pull = GPIO_NOPULL;
  GPIO_InitStruct.Speed = GPIO_SPEED_FREQ_VERY_HIGH;
  GPIO_InitStruct.Alternate = GPIO_AF11_ETH;
  HAL_GPIO_Init(GPIOG, &GPIO_InitStruct);

  /* EXTI interrupt init*/
  HAL_NVIC_SetPriority(EXTI9_5_IRQn, 0, 0);
  HAL_NVIC_EnableIRQ(EXTI9_5_IRQn);

  HAL_NVIC_SetPriority(EXTI15_10_IRQn, 0, 0);
  HAL_NVIC_EnableIRQ(EXTI15_10_IRQn);

}

/* USER CODE BEGIN 4 */

// Playback Function 12Hz
// Callback: timer has rolled over
void HAL_TIM_PeriodElapsedCallback(TIM_HandleTypeDef *htim)
{
  // Check which version of the timer triggered this callback and toggle LED
  if (htim == &htim10 )
  {
//	HAL_GPIO_TogglePin(LD1_GPIO_Port, LD1_Pin);
	if(current_fish_state==FISH_PLAYING_STATE){
//		if(initial_start_playing == 1){
//		    uint8_t dataTemp[] = "#x\n";
//		    // Convert the uint8_t variable to a string
//		    char variableString[2]; // Assuming a single-digit number
//		    snprintf(variableString, sizeof(variableString), "%u", (current_song));
//		    // Replace the "2" with the variable in the array
//		    dataTemp[1] = variableString[0];
//
//			// 0 = Love Sosa - Chief Keef
//			// 1 = September - Earth, Wind, and Fire
//			// 2 = Swervo - G Herbo
//			HAL_UART_Transmit (&huart6, dataTemp, sizeof (dataTemp), 10);
//
//			//delay?
//
//			initial_start_playing = 0;
//			i_play = 0;
//		}
//		uint8_t current_song_byte;
//		if(i_play < 3599){
//			current_song_byte = current_song_data[i_play];
//			set_fish_motor_states(current_song_byte);
//			i_play++;
//		}
//		else{
//			stopSong();
//		}
//	}
  }
}
}

/*
AHHHH
*/

/*
AHHHH
*/

/* USER CODE END 4 */

void Error_Handler(void)
{
  __disable_irq();
  while (1)
  {
  }
}
